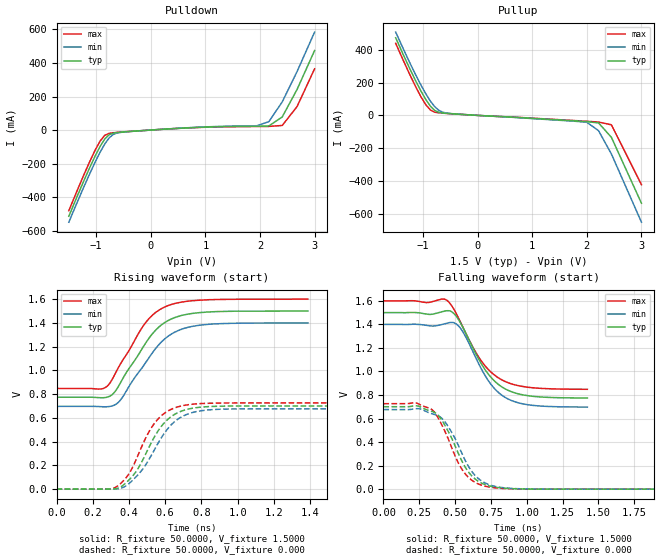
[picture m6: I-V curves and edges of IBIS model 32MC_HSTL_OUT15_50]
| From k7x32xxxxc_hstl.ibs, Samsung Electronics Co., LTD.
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|   Model 32MC_HSTL_OUT15_50
[Model]   32MC_HSTL_OUT15_50
Model_type   Output
Polarity   Non-Inverting
Enable   Active-High
Vmeas = 0.7500V
Cref =  0.000F
Rref =50.0000
Vref = 0.7500V
C_comp   0.8590pF   0.8410pF   0.8720pF
[model_spec]
Vmeas  0.7500V   0.7000V   0.8000V |VDDQ/2
[Temperature Range]   55.0000   0.1100k   0.000
[Voltage Range]   1.5000V   1.4000V   1.6000V
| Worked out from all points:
|   slope of the pulldown table from 0 to 0.225 V, typ, clamps not added: 47.3 ohm
|   slope of the pullup table from 0 to 0.225 V, typ, clamps not added: 54.7 ohm
|   rising waveform, R_fixture 50.0000, V_fixture 1.5000: 20-80 % time 196ps typ, 203ps min, 187ps max; typ from 0.774 V to 1.5 V
|   rising waveform, R_fixture 50.0000, V_fixture 0.000: 20-80 % time 161ps typ, 175ps min, 148ps max; typ from 0 V to 0.7 V
|   falling waveform, R_fixture 50.0000, V_fixture 1.5000: 20-80 % time 212ps typ, 199ps min, 221ps max; typ from 1.5 V to 0.774 V
|   falling waveform, R_fixture 50.0000, V_fixture 0.000: 20-80 % time 177ps typ, 179ps min, 169ps max; typ from 0.7 V to 0 V
[Pulldown]
| voltage   I(typ)   I(min/slow/weak)   I(max/fast/strong)
-1.5V     -514.5mA   -549.8mA   -481.3mA
-1.019V   -155.8mA   -192.2mA   -120.5mA
-925mV    -96.47mA   -131mA     -64.56mA
-840mV    -52.84mA   -82.32mA   -31.01mA
-692mV    -18.75mA   -27.39mA   -16.41mA
-570mV    -13.29mA   -14.85mA   -12.59mA
826mV     15.28mA    16.18mA    14.76mA
1.944V    22.77mA    25.73mA    21.17mA
2.163V    24.47mA    50.25mA    21.67mA
2.407V    77.97mA    167.6mA    27.26mA
2.678V    241.4mA    348mA      139.4mA
3V        474.4mA    584.5mA    365.3mA
[Pullup]
| voltage   I(typ)   I(min/slow/weak)   I(max/fast/strong)
-1.5V     474.1mA    509mA      440.3mA
-1.137V   212.9mA    249.7mA    176.9mA
-1.037V   148.3mA    184.7mA    113.1mA
-945mV    94.9mA     129.7mA    63.25mA
-862mV    55.31mA    85.97mA    32.27mA
-786mV    30.53mA    53.52mA    19.65mA
-653mV    15.11mA    21.19mA    14.06mA
-410mV    8.559mA    8.865mA    8.382mA
2V        -38.29mA   -42.39mA   -36.15mA
2.214V    -45.99mA   -93.3mA    -40.63mA
2.45V     -134.4mA   -236.2mA   -57.68mA
3V        -536.9mA   -652.7mA   -423.6mA
[Ramp]
| variable   typ   min(slow/weak)   max(fast/strong)
dV/dt_r   0.4202/0.1608n   0.4057/0.1748n   0.4355/0.1485n
dV/dt_f   0.4357/0.2120n   0.4219/0.1995n   0.4513/0.2216n
R_load = 50.0000
[Rising Waveform]
R_fixture = 50.0000
V_fixture = 1.5000
V_fixture_min = 1.4000
V_fixture_max = 1.6000
L_fixture = 0.000H
C_fixture = 0.000F
| time   V(typ)   V(min)   V(max)
0s        773.9mV    696.9mV    847.8mV
248ps     769.5mV    694.1mV    844.1mV
304ps     792.2mV    699.5mV    915.6mV
352ps     892.7mV    748.7mV    1.052V
487ps     1.218V     1.054V     1.392V
554ps     1.349V     1.197V     1.495V
619ps     1.422V     1.291V     1.547V
703ps     1.466V     1.353V     1.577V
849ps     1.492V     1.389V     1.595V
1.387ns   1.5V       1.399V     1.6V
[Rising Waveform]
R_fixture = 50.0000
V_fixture = 0.000
V_fixture_min = 0.000
V_fixture_max = 0.000
L_fixture = 0.000H
C_fixture = 0.000F
| time   V(typ)   V(min)   V(max)
0s        2.996uV    20.01uV    0V
297ps     207.9uV    9.651uV    1.794mV
357ps     22.18mV    8.861mV    52.42mV
441ps     152.9mV    107.1mV    254.9mV
505ps     336.4mV    236.4mV    468.4mV
555ps     477.3mV    372mV      581.6mV
640ps     618.4mV    552mV      676.7mV
737ps     677.1mV    639.1mV    712.6mV
971ps     699.6mV    675mV      725.5mV
3.999ns   700.3mV    676.2mV    725.9mV
[Falling Waveform]
R_fixture = 50.0000
V_fixture = 1.5000
V_fixture_min = 1.4000
V_fixture_max = 1.6000
L_fixture = 0.000H
C_fixture = 0.000F
| time   V(typ)   V(min)   V(max)
0s        1.5V       1.4V       1.6V
330ps     1.485V     1.387V     1.589V
427ps     1.513V     1.405V     1.614V
489ps     1.495V     1.415V     1.534V
550ps     1.385V     1.345V     1.388V
668ps     1.098V     1.058V     1.116V
749ps     952.2mV    892.7mV    996.3mV
825ps     869.8mV    799.3mV    929.3mV
1.017ns   792.6mV    715.7mV    864.6mV
1.423ns   774.5mV    697.5mV    848.4mV
[Falling Waveform]
R_fixture = 50.0000
V_fixture = 0.000
V_fixture_min = 0.000
V_fixture_max = 0.000
L_fixture = 0.000H
C_fixture = 0.000F
| time   V(typ)   V(min)   V(max)
0s        700.3mV    676.2mV    725.9mV
231ps     708.1mV    683.8mV    731.2mV
339ps     660.3mV    640.3mV    675.3mV
398ps     604.1mV    611.3mV    568.1mV
474ps     438.7mV    487.9mV    361mV
565ps     199mV      258.3mV    139.2mV
649ps     77.72mV    104.9mV    51.96mV
746ps     25.26mV    34.63mV    16.34mV
1.055ns   654.2uV    1.029mV    350uV
3.999ns   0V         17.22uV    -2.09uV
